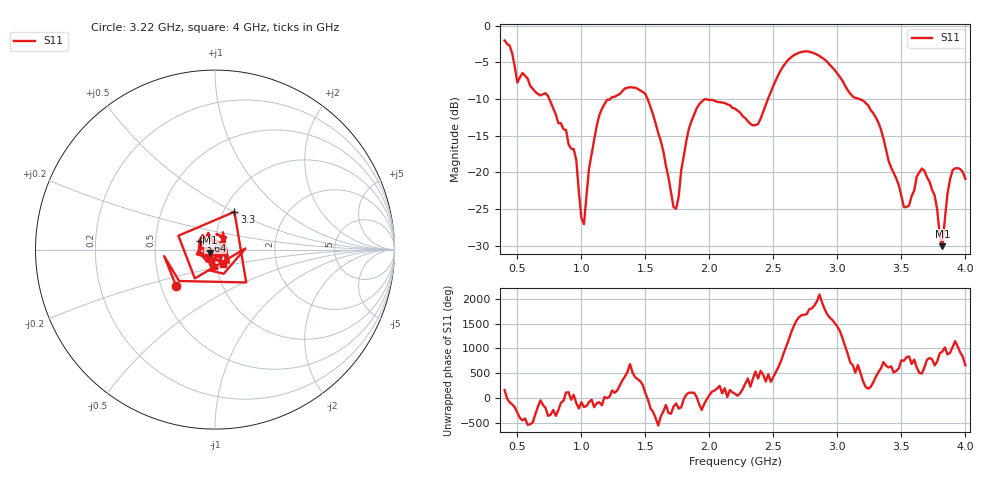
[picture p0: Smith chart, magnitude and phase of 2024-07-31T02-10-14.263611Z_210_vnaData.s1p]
!Created with skrf (http://scikit-rf.org).
# Hz S RI R 50.0
!freq ReS11 ImS11
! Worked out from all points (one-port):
!   181 points, 400 MHz to 4 GHz, reference 50 ohm
!   lowest |S11| = -30.1 dB at 3.82 GHz (marker M1), VSWR 1.06, Z = 47.4 - j1.64 ohm
!   |S11| at or under -10 dB: 749.1 MHz to 1.225 GHz (476.3 MHz wide, 48.2 % of centre); 1.517 GHz to 2.458 GHz (941.3 MHz wide, 47.4 % of centre); 3.169 GHz to end of sweep
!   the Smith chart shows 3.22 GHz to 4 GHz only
!   S11 on the Smith chart (normalised r, x): 3.22 GHz: 0.60, -0.27; 3.3 GHz: 1.12, +0.50; 3.64 GHz: 0.84, +0.09; 4 GHz: 1.08, -0.17
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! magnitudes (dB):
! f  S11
! 400 MHz  -2.0
! 500 MHz  -7.8
! 720 MHz  -9.2
! 860 MHz  -14.1
! 960 MHz  -18.3
! 1 GHz  -26.3
! 1.02 GHz  -27.1
! 1.06 GHz  -19.4
! 1.14 GHz  -12.2
! 1.3 GHz  -9.3
! 1.5 GHz  -9.3
! 1.72 GHz  -24.8
! 1.76 GHz  -23.3
! 1.82 GHz  -15.7
! 1.9 GHz  -11.3
! 2.2 GHz  -11.3
! 2.38 GHz  -13.4
! 2.66 GHz  -4.0
! 2.88 GHz  -4.4
! 3.1 GHz  -9.3
! 3.22 GHz  -10.6
! 3.3 GHz  -12.5
! 3.56 GHz  -24.5
! 3.64 GHz  -20.0
! 3.76 GHz  -23.2
! 3.82 GHz  -30.1
! 3.9 GHz  -19.7
! 4 GHz  -20.9
